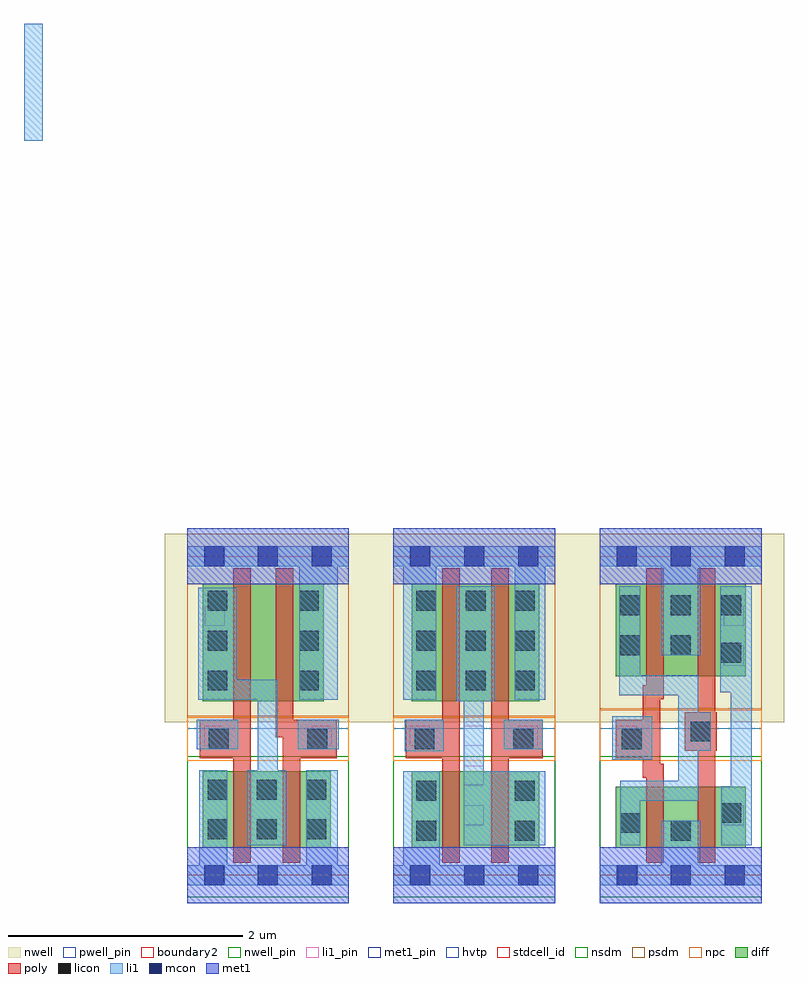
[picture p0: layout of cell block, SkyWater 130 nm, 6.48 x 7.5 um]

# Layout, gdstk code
import gdstk
lib = gdstk.Library(unit=1e-6, precision=1e-09)
def R(c, l, rs):  # rectangles x0, y0, x1, y1
    for r in rs: c.add(gdstk.rectangle(r[:2], r[2:], *l))
def A(c, l, x, y, w, h, nx, ny, dx, dy):  # array of equal rectangles
    R(c, l, [(x+i*dx, y+j*dy, x+i*dx+w, y+j*dy+h) for i in range(nx) for j in range(ny)])
def P(c, l, *ps):  # polygons
    for p in ps: c.add(gdstk.Polygon(p, *l))
nwell_pin = (64, 16)
nwell = (64, 20)
diff = (65, 20)
poly = (66, 20)
licon = (66, 44)
li1_pin = (67, 16)
li1 = (67, 20)
mcon = (67, 44)
met1_pin = (68, 16)
met1 = (68, 20)
hvtp = (78, 44)
stdcell_id = (81, 4)
nsdm = (93, 44)
psdm = (94, 20)
npc = (95, 20)
pwell_pin = (122, 16)
boundary2 = (236, 0)

sky130_fd_sc_hd__nor2_1 = lib.new_cell('sky130_fd_sc_hd__nor2_1')
R(sky130_fd_sc_hd__nor2_1, nwell_pin, [(0.15,2.635,0.32,2.805)])
R(sky130_fd_sc_hd__nor2_1, nwell, [(-0.19,1.305,1.57,2.91)])
R(sky130_fd_sc_hd__nor2_1, diff, [(0.135,0.235,1.225,0.885), (0.135,1.485,1.165,2.485)])
P(sky130_fd_sc_hd__nor2_1, poly, [(0.815,0.105),(0.815,1.175),(0.755,1.175),(0.755,2.615),(0.905,2.615),(0.905,1.325),(1.275,1.325),(1.275,0.995),(0.965,0.995),(0.965,0.105)],
  [(0.395,0.105),(0.395,0.995),(0.11,0.995),(0.11,1.325),(0.395,1.325),(0.395,2.615),(0.545,2.615),(0.545,0.105)])
A(sky130_fd_sc_hd__nor2_1, licon, 0.175, 0.305, 0.17, 0.17, 3, 2, 0.42, 0.34)
A(sky130_fd_sc_hd__nor2_1, licon, 0.175, 1.575, 0.17, 0.17, 1, 3, 0, 0.34)
A(sky130_fd_sc_hd__nor2_1, licon, 0.955, 1.575, 0.17, 0.17, 1, 3, 0, 0.34)
R(sky130_fd_sc_hd__nor2_1, licon, [(0.185,1.075,0.355,1.245), (1.025,1.075,1.195,1.245)])
R(sky130_fd_sc_hd__nor2_1, li1_pin, [(0.145,1.105,0.315,1.275), (1.065,1.105,1.235,1.275), (0.15,2.125,0.32,2.295)])
R(sky130_fd_sc_hd__nor2_1, li1, [(0.085,1.075,0.435,1.325), (0.945,1.075,1.295,1.325)])
P(sky130_fd_sc_hd__nor2_1, li1, [(0,-0.085),(0,0.085),(0.105,0.085),(0.105,0.895),(0.345,0.895),(0.345,0.085),(1.015,0.085),(1.015,0.895),(1.285,0.895),(1.285,0.085),(1.38,0.085),(1.38,-0.085)],
  [(0.955,1.495),(0.955,2.635),(0,2.635),(0,2.805),(1.38,2.805),(1.38,2.635),(1.285,2.635),(1.285,1.495)],
  [(0.515,0.255),(0.515,0.895),(0.605,0.895),(0.605,1.495),(0.095,1.495),(0.095,2.45),(0.425,2.45),(0.425,1.665),(0.775,1.665),(0.775,0.895),(0.845,0.895),(0.845,0.255)])
A(sky130_fd_sc_hd__nor2_1, mcon, 0.145, -0.085, 0.17, 0.17, 3, 2, 0.46, 2.72)
R(sky130_fd_sc_hd__nor2_1, met1_pin, [(0.15,-0.085,0.32,0.085), (0.15,2.635,0.32,2.805)])
R(sky130_fd_sc_hd__nor2_1, hvtp, [(0,1.25,1.38,2.72)])
R(sky130_fd_sc_hd__nor2_1, stdcell_id, [(0,0,1.38,2.72)])
R(sky130_fd_sc_hd__nor2_1, nsdm, [(0,-0.19,1.38,1.015)])
R(sky130_fd_sc_hd__nor2_1, psdm, [(0,1.355,1.38,2.91)])
R(sky130_fd_sc_hd__nor2_1, npc, [(0,0.975,1.38,1.345)])
R(sky130_fd_sc_hd__nor2_1, pwell_pin, [(0.15,-0.085,0.32,0.085)])
R(sky130_fd_sc_hd__nor2_1, boundary2, [(0,0,1.38,2.72)])
sky130_fd_sc_hd__nor2_1.add(gdstk.FlexPath([(0,2.72),(1.38,2.72)], 0.48, ends="flush", simple_path=True, layer=68, datatype=20))  # met1
sky130_fd_sc_hd__nor2_1.add(gdstk.FlexPath([(0,0),(1.38,0)], 0.48, ends="flush", simple_path=True, layer=68, datatype=20))  # met1
sky130_fd_sc_hd__nor2_1.add(gdstk.Label('B', (0.23,1.19), layer=67, texttype=5))
sky130_fd_sc_hd__nor2_1.add(gdstk.Label('Y', (0.235,2.21), layer=67, texttype=5))
sky130_fd_sc_hd__nor2_1.add(gdstk.Label('A', (1.15,1.19), layer=67, texttype=5))
sky130_fd_sc_hd__nor2_1.add(gdstk.Label('VPB', (0.235,2.72), layer=64, texttype=5))
sky130_fd_sc_hd__nor2_1.add(gdstk.Label('VNB', (0.235,0), layer=64, texttype=59))
sky130_fd_sc_hd__nor2_1.add(gdstk.Label('VGND', (0.23,0), layer=68, texttype=5))
sky130_fd_sc_hd__nor2_1.add(gdstk.Label('VPWR', (0.23,2.72), layer=68, texttype=5))
sky130_fd_sc_hd__nor2_1.add(gdstk.Label('nor2_1', (0,0), layer=83, texttype=44))

sky130_fd_sc_hd__nand2_1 = lib.new_cell('sky130_fd_sc_hd__nand2_1')
R(sky130_fd_sc_hd__nand2_1, nwell_pin, [(0.14,2.635,0.31,2.805)])
R(sky130_fd_sc_hd__nand2_1, nwell, [(-0.19,1.305,1.57,2.91)])
R(sky130_fd_sc_hd__nand2_1, diff, [(0.155,0.235,1.245,0.885), (0.155,1.485,1.245,2.485)])
P(sky130_fd_sc_hd__nand2_1, poly, [(0.835,0.105),(0.835,2.615),(0.985,2.615),(0.985,1.325),(1.275,1.325),(1.275,0.995),(0.985,0.995),(0.985,0.105)],
  [(0.415,0.105),(0.415,0.995),(0.105,0.995),(0.105,1.325),(0.415,1.325),(0.415,2.615),(0.565,2.615),(0.565,0.105)])
A(sky130_fd_sc_hd__nand2_1, licon, 0.195, 1.575, 0.17, 0.17, 3, 3, 0.42, 0.34)
R(sky130_fd_sc_hd__nand2_1, licon, [(0.195,0.295,0.365,0.465), (1.035,0.295,1.205,0.465), (0.195,0.635,0.365,0.805), (1.035,0.635,1.205,0.805), (0.18,1.075,0.35,1.245), (1.02,1.075,1.19,1.245)])
A(sky130_fd_sc_hd__nand2_1, li1_pin, 0.14, 1.105, 0.17, 0.17, 3, 1, 0.46, 0)
R(sky130_fd_sc_hd__nand2_1, li1_pin, [(0.6,0.425,0.77,0.595), (0.6,0.765,0.77,0.935)])
R(sky130_fd_sc_hd__nand2_1, li1, [(0.095,1.055,0.43,1.325), (0.94,1.075,1.275,1.325)])
P(sky130_fd_sc_hd__nand2_1, li1, [(0,-0.085),(0,0.085),(0.085,0.085),(0.085,0.885),(0.395,0.885),(0.395,0.085),(1.38,0.085),(1.38,-0.085)],
  [(0.085,1.495),(0.085,2.635),(0,2.635),(0,2.805),(1.38,2.805),(1.38,2.635),(1.295,2.635),(1.295,1.495),(1.035,1.495),(1.035,2.635),(0.365,2.635),(0.365,1.495)],
  [(0.6,0.255),(0.6,1.485),(0.535,1.485),(0.535,2.465),(0.865,2.465),(0.865,1.485),(0.77,1.485),(0.77,0.885),(1.295,0.885),(1.295,0.255)])
A(sky130_fd_sc_hd__nand2_1, mcon, 0.145, -0.085, 0.17, 0.17, 3, 2, 0.46, 2.72)
R(sky130_fd_sc_hd__nand2_1, met1_pin, [(0.14,-0.085,0.31,0.085), (0.14,2.635,0.31,2.805)])
R(sky130_fd_sc_hd__nand2_1, hvtp, [(0,1.25,1.38,2.72)])
R(sky130_fd_sc_hd__nand2_1, stdcell_id, [(0,0,1.38,2.72)])
R(sky130_fd_sc_hd__nand2_1, nsdm, [(0,-0.19,1.38,1.015)])
R(sky130_fd_sc_hd__nand2_1, psdm, [(0,1.355,1.38,2.91)])
R(sky130_fd_sc_hd__nand2_1, npc, [(0,0.975,1.38,1.345)])
R(sky130_fd_sc_hd__nand2_1, pwell_pin, [(0.14,-0.085,0.31,0.085)])
R(sky130_fd_sc_hd__nand2_1, boundary2, [(0,0,1.38,2.72)])
sky130_fd_sc_hd__nand2_1.add(gdstk.FlexPath([(0,2.72),(1.38,2.72)], 0.48, ends="flush", simple_path=True, layer=68, datatype=20))  # met1
sky130_fd_sc_hd__nand2_1.add(gdstk.FlexPath([(0,0),(1.38,0)], 0.48, ends="flush", simple_path=True, layer=68, datatype=20))  # met1
sky130_fd_sc_hd__nand2_1.add(gdstk.Label('Y', (0.685,0.51), layer=67, texttype=5))
sky130_fd_sc_hd__nand2_1.add(gdstk.Label('Y', (0.685,0.85), layer=67, texttype=5))
sky130_fd_sc_hd__nand2_1.add(gdstk.Label('Y', (0.685,1.19), layer=67, texttype=5))
sky130_fd_sc_hd__nand2_1.add(gdstk.Label('B', (0.225,1.19), layer=67, texttype=5))
sky130_fd_sc_hd__nand2_1.add(gdstk.Label('A', (1.145,1.19), layer=67, texttype=5))
sky130_fd_sc_hd__nand2_1.add(gdstk.Label('VPB', (0.225,2.72), layer=64, texttype=5))
sky130_fd_sc_hd__nand2_1.add(gdstk.Label('VNB', (0.225,0), layer=64, texttype=59))
sky130_fd_sc_hd__nand2_1.add(gdstk.Label('VGND', (0.23,0), layer=68, texttype=5))
sky130_fd_sc_hd__nand2_1.add(gdstk.Label('VPWR', (0.225,2.72), layer=68, texttype=5))
sky130_fd_sc_hd__nand2_1.add(gdstk.Label('nand2_1', (0,0), layer=83, texttype=44))

sky130_fd_sc_hd__buf_1 = lib.new_cell('sky130_fd_sc_hd__buf_1')
R(sky130_fd_sc_hd__buf_1, nwell_pin, [(0.145,2.635,0.315,2.805)])
R(sky130_fd_sc_hd__buf_1, nwell, [(-0.19,1.305,1.57,2.91)])
R(sky130_fd_sc_hd__buf_1, diff, [(0.135,0.235,1.245,0.755), (0.135,1.695,1.245,2.485)])
P(sky130_fd_sc_hd__buf_1, poly, [(0.835,0.105),(0.835,1.06),(0.725,1.06),(0.725,1.39),(0.835,1.39),(0.835,2.615),(0.985,2.615),(0.985,1.39),(0.995,1.39),(0.995,1.06),(0.985,1.06),(0.985,0.105)],
  [(0.395,0.105),(0.395,0.83),(0.365,0.83),(0.365,0.995),(0.135,0.995),(0.135,1.325),(0.365,1.325),(0.365,1.62),(0.395,1.62),(0.395,2.615),(0.545,2.615),(0.545,1.5),(0.515,1.5),(0.515,0.95),(0.545,0.95),(0.545,0.105)])
A(sky130_fd_sc_hd__buf_1, licon, 0.175, 2.215, 0.17, 0.17, 3, 1, 0.43, 0)
R(sky130_fd_sc_hd__buf_1, licon, [(0.605,0.295,0.775,0.465), (0.175,0.36,0.345,0.53), (1.035,0.445,1.205,0.615), (0.185,1.075,0.355,1.245), (0.775,1.14,0.945,1.31), (1.035,1.81,1.205,1.98), (0.175,1.875,0.345,2.045), (0.605,1.875,0.775,2.045)])
R(sky130_fd_sc_hd__buf_1, li1_pin, [(0.155,-0.085,0.325,0.085), (1.055,0.425,1.225,0.595), (0.145,1.105,0.315,1.275), (1.055,1.785,1.225,1.955), (1.055,2.125,1.225,2.295), (0.145,2.635,0.315,2.805)])
R(sky130_fd_sc_hd__buf_1, li1, [(0.105,0.985,0.445,1.355)])
P(sky130_fd_sc_hd__buf_1, li1, [(1.035,0.255),(1.035,0.76),(1.115,0.76),(1.115,1.56),(1.025,1.56),(1.025,2.465),(1.295,2.465),(1.295,0.255)],
  [(0,-0.085),(0,0.085),(0.525,0.085),(0.525,0.465),(0.855,0.465),(0.855,0.085),(1.38,0.085),(1.38,-0.085)],
  [(0.175,0.255),(0.175,0.805),(0.67,0.805),(0.67,1.535),(0.165,1.535),(0.165,2.465),(0.345,2.465),(0.345,1.705),(0.84,1.705),(0.84,1.39),(0.945,1.39),(0.945,1.06),(0.84,1.06),(0.84,0.635),(0.345,0.635),(0.345,0.255)],
  [(0.525,1.875),(0.525,2.635),(0,2.635),(0,2.805),(1.38,2.805),(1.38,2.635),(0.855,2.635),(0.855,1.875)])
A(sky130_fd_sc_hd__buf_1, mcon, 0.145, -0.085, 0.17, 0.17, 3, 2, 0.46, 2.72)
R(sky130_fd_sc_hd__buf_1, met1_pin, [(0.155,-0.085,0.325,0.085), (0.145,2.635,0.315,2.805)])
R(sky130_fd_sc_hd__buf_1, hvtp, [(0,1.25,1.38,2.72)])
R(sky130_fd_sc_hd__buf_1, stdcell_id, [(0,0,1.38,2.72)])
R(sky130_fd_sc_hd__buf_1, nsdm, [(0,-0.19,1.38,1.015)])
R(sky130_fd_sc_hd__buf_1, psdm, [(0,1.42,1.38,2.91)])
R(sky130_fd_sc_hd__buf_1, npc, [(0,0.975,1.38,1.41)])
R(sky130_fd_sc_hd__buf_1, pwell_pin, [(0.155,-0.085,0.325,0.085)])
R(sky130_fd_sc_hd__buf_1, boundary2, [(0,0,1.38,2.72)])
sky130_fd_sc_hd__buf_1.add(gdstk.FlexPath([(0,0),(1.38,0)], 0.48, ends="flush", simple_path=True, layer=68, datatype=20))  # met1
sky130_fd_sc_hd__buf_1.add(gdstk.FlexPath([(0,2.72),(1.38,2.72)], 0.48, ends="flush", simple_path=True, layer=68, datatype=20))  # met1
sky130_fd_sc_hd__buf_1.add(gdstk.Label('VPWR', (0.23,2.72), layer=67, texttype=5))
sky130_fd_sc_hd__buf_1.add(gdstk.Label('VGND', (0.23,0), layer=67, texttype=5))
sky130_fd_sc_hd__buf_1.add(gdstk.Label('X', (1.14,0.51), layer=67, texttype=5))
sky130_fd_sc_hd__buf_1.add(gdstk.Label('X', (1.14,1.87), layer=67, texttype=5))
sky130_fd_sc_hd__buf_1.add(gdstk.Label('X', (1.14,2.21), layer=67, texttype=5))
sky130_fd_sc_hd__buf_1.add(gdstk.Label('A', (0.23,1.19), layer=67, texttype=5))
sky130_fd_sc_hd__buf_1.add(gdstk.Label('VPB', (0.23,2.72), layer=64, texttype=5))
sky130_fd_sc_hd__buf_1.add(gdstk.Label('VNB', (0.23,0), layer=64, texttype=59))
sky130_fd_sc_hd__buf_1.add(gdstk.Label('VGND', (0.23,0), layer=68, texttype=5))
sky130_fd_sc_hd__buf_1.add(gdstk.Label('VPWR', (0.23,2.72), layer=68, texttype=5))
sky130_fd_sc_hd__buf_1.add(gdstk.Label('buf_1', (0,0), layer=83, texttype=44))

block = lib.new_cell('block')
R(block, li1, [(-1.39,6.26,-1.23,7.26)])
block.add(gdstk.Reference(sky130_fd_sc_hd__nor2_1, (0,0)))
block.add(gdstk.Reference(sky130_fd_sc_hd__nand2_1, (1.76,0)))
block.add(gdstk.Reference(sky130_fd_sc_hd__buf_1, (3.52,0)))

lib.write_gds('block.gds')
